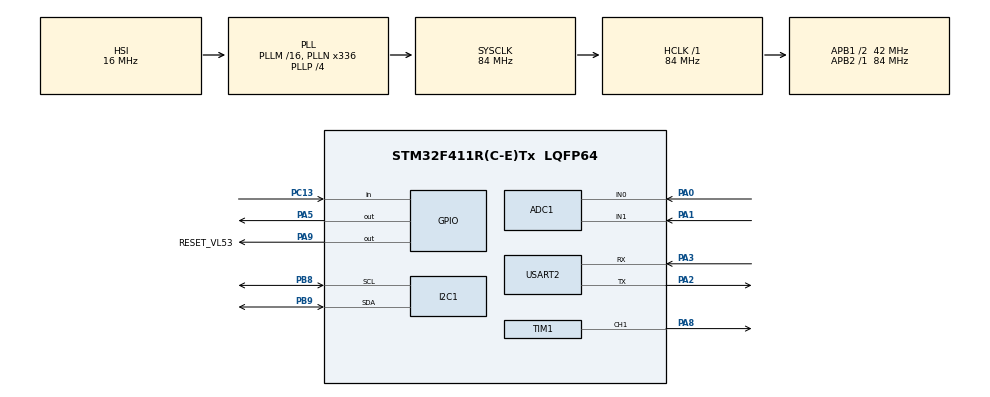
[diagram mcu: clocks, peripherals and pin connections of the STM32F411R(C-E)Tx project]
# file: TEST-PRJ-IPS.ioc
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ADC1.Channel-0\#ChannelRegularConversion=ADC_CHANNEL_0
ADC1.Channel-1\#ChannelRegularConversion=ADC_CHANNEL_1
ADC1.ContinuousConvMode=ENABLE
ADC1.NbrOfConversion=2
ADC1.NbrOfConversionFlag=1
ADC1.Rank-0\#ChannelRegularConversion=1
ADC1.Rank-1\#ChannelRegularConversion=2
ADC1.SamplingTime-0\#ChannelRegularConversion=ADC_SAMPLETIME_3CYCLES
ADC1.SamplingTime-1\#ChannelRegularConversion=ADC_SAMPLETIME_3CYCLES
ADC1.master=1
Dma.ADC1.0.Direction=DMA_PERIPH_TO_MEMORY
Dma.ADC1.0.FIFOMode=DMA_FIFOMODE_DISABLE
Dma.ADC1.0.Instance=DMA2_Stream0
Dma.ADC1.0.MemDataAlignment=DMA_MDATAALIGN_WORD
Dma.ADC1.0.MemInc=DMA_MINC_ENABLE
Dma.ADC1.0.Mode=DMA_CIRCULAR
Dma.ADC1.0.PeriphDataAlignment=DMA_PDATAALIGN_WORD
Dma.ADC1.0.PeriphInc=DMA_PINC_DISABLE
Dma.ADC1.0.Priority=DMA_PRIORITY_LOW
Dma.Request0=ADC1
Mcu.Family=STM32F4
Mcu.Name=STM32F411R(C-E)Tx
Mcu.Package=LQFP64
NVIC.ADC_IRQn=true\:0\:0\:false\:false\:true\:true\:true\:true
NVIC.DMA2_Stream0_IRQn=true\:0\:0\:false\:false\:true\:false\:true\:true
NVIC.PriorityGroup=NVIC_PRIORITYGROUP_0
NVIC.TIM2_IRQn=true\:0\:0\:false\:false\:true\:true\:true\:true
NVIC.USART2_IRQn=true\:0\:0\:false\:false\:true\:true\:true\:true
PA0-WKUP.Signal=ADCx_IN0
PA1.Signal=ADCx_IN1
PA13.GPIO_Label=TMS
PA13.Mode=Serial_Wire
PA13.Signal=SYS_JTMS-SWDIO
PA14.GPIO_Label=TCK
PA14.Mode=Serial_Wire
PA14.Signal=SYS_JTCK-SWCLK
PA2.Mode=Asynchronous
PA2.Signal=USART2_TX
PA3.Mode=Asynchronous
PA3.Signal=USART2_RX
PA5.Signal=GPIO_Output
PA8.Signal=S_TIM1_CH1
PA9.GPIO_Label=RESET_VL53
PA9.Signal=GPIO_Output
PB3.GPIO_Label=SWO
PB3.Signal=SYS_JTDO-SWO
PB8.Mode=I2C
PB8.Signal=I2C1_SCL
PB9.Mode=I2C
PB9.Signal=I2C1_SDA
PC13-ANTI_TAMP.Signal=GPIO_Input
PC14-OSC32_IN.Mode=LSE-External-Oscillator
PC14-OSC32_IN.Signal=RCC_OSC32_IN
PC15-OSC32_OUT.Mode=LSE-External-Oscillator
PC15-OSC32_OUT.Signal=RCC_OSC32_OUT
PH0\ -\ OSC_IN.Mode=HSE-External-Clock-Source
PH0\ -\ OSC_IN.Signal=RCC_OSC_IN
PH1\ -\ OSC_OUT.Mode=HSE-External-Clock-Source
PH1\ -\ OSC_OUT.Signal=RCC_OSC_OUT
ProjectManager.HeapSize=0x200
ProjectManager.StackSize=0x400
ProjectManager.TargetToolchain=STM32CubeIDE
RCC.48MHZClocksFreq_Value=84000000
RCC.AHBFreq_Value=84000000
RCC.APB1CLKDivider=RCC_HCLK_DIV2
RCC.APB1Freq_Value=42000000
RCC.APB1TimFreq_Value=84000000
RCC.APB2Freq_Value=84000000
RCC.APB2TimFreq_Value=84000000
RCC.CortexFreq_Value=84000000
RCC.FLatency-AdvancedSettings=FLASH_LATENCY_2
RCC.HCLKFreq_Value=84000000
RCC.HSE_VALUE=8000000
RCC.HSI_VALUE=16000000
RCC.PLLN=336
RCC.PLLP=RCC_PLLP_DIV4
RCC.SYSCLKFreq_VALUE=84000000
RCC.SYSCLKSource=RCC_SYSCLKSOURCE_PLLCLK
RCC.VCOOutputFreq_Value=336000000
SH.ADCx_IN0.0=ADC1_IN0,IN0
SH.ADCx_IN1.0=ADC1_IN1,IN1
SH.S_TIM1_CH1.0=TIM1_CH1,PWM Generation1 CH1
TIM1.Channel-PWM\ Generation1\ CH1=TIM_CHANNEL_1
TIM1.Period=100
TIM1.Prescaler=42
TIM2.Period=10000-1
TIM2.Prescaler=8400-1
USART2.VirtualMode=VM_ASYNC
VP_TIM1_VS_ClockSourceINT.Mode=Internal
VP_TIM2_VS_ClockSourceINT.Mode=Internal
board=NUCLEO-F411RE

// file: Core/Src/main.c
/* USER CODE BEGIN Header */
/**
  ******************************************************************************
  * @file           : main.c
  * @brief          : Main program body
  ******************************************************************************
  * @attention
  *
  * Copyright (c) 2022 STMicroelectronics.
  * All rights reserved.
  *
  * This software is licensed under terms that can be found in the LICENSE file
  * in the root directory of this software component.
  * If no LICENSE file comes with this software, it is provided AS-IS.
  *
  ******************************************************************************
  */
/* USER CODE END Header */
#include "main.h"

/* USER CODE BEGIN Includes */
#include "uart_trace.c"
#include "vl53l0x_api.h"
/* USER CODE END Includes */

ADC_HandleTypeDef hadc1;
DMA_HandleTypeDef hdma_adc1;

I2C_HandleTypeDef hi2c1;

TIM_HandleTypeDef htim1;
TIM_HandleTypeDef htim2;

UART_HandleTypeDef huart2;

/* USER CODE BEGIN PV */
int status=0;
uint16_t position_courante=0;

/* USER CODE END PV */

void SystemClock_Config(void);
static void MX_GPIO_Init(void);
static void MX_DMA_Init(void);
static void MX_USART2_UART_Init(void);
static void MX_TIM2_Init(void);
static void MX_ADC1_Init(void);
static void MX_TIM1_Init(void);
static void MX_I2C1_Init(void);

/* USER CODE BEGIN 0 */

uint8_t data[] = "Message \r\n";
uint8_t Rx_data[6];  //  creating a buffer of 10 bytes
double Voltage_value;
double Current_value;
double Power_value;

//PID
double order=126;
double commande;
double error;
double last_error;
double sum_error;

double Consigne = 110; //En cm par rapport au sol !!
double Mesure_sortie; //Mesure du capteur conversion en cm !!!
double error; //Ecart : error = Consigne - Mesure_sortie
double Kp=2; //Gain correcteur proportionel
double Ki=0.002; //Gain correcteur intégrale
double Kd = 50;

double up;
double ui;

char str[1024];
uint32_t adc_buffer[2];
int position;
int position_actuel_masse;
float prev_error= 0.0;
int apply_correction = 0;

double get_current(	uint32_t readValue){

	double current;

	current = (float)readValue*(3.3/4095.0);
	current/=(23 * 0.05);
	sprintf(str,"Courant : valeur releve : %ld - valeur courant : %.5f\r\n",readValue,current);
//	HAL_UART_Transmit(&huart2, (uint8_t *)str, strlen(str), 100);

	Current_value = current;
	return current;
}

float Recevoir_tension_SHUNT(ADC_HandleTypeDef* hadc, UART_HandleTypeDef* huart) {
	 // ADC CONVERTER
	 float voltage;

	 HAL_ADC_Start(hadc);
	 /* Attendre la fin de la conversion ADC */
	 HAL_ADC_PollForConversion(hadc, HAL_MAX_DELAY);

	 /* Lisez la valeur brute */
	 uint16_t raw_value = HAL_ADC_GetValue(hadc);

	 /* Convertissez la valeur brute en tension (supposant une résolution de 12 bits et une tension de référence de 3.3 V) */
	 voltage = (raw_value / 4095.0) * 4.6;

	 /* Envoyez la tension via USART2 */
	 char buffer[50];
	 sprintf(buffer, "voltage=%.2f\r\n", voltage);
	 HAL_UART_Transmit(huart, (uint8_t *)buffer, strlen(buffer), HAL_MAX_DELAY);
	 return voltage;
}

double get_voltage(uint32_t readValue){

	double voltage;
	voltage = (float)readValue*(3.3/4095.0);
	sprintf(str,"Tension : valeur releve : %ld - valeur voltage : %.5f\r\n",readValue,voltage);
//	HAL_UART_Transmit(&huart2, (uint8_t *)str, strlen(str), 100);

	Voltage_value = voltage;
	return voltage;
}

void Correcteur(UART_HandleTypeDef* huart){
 // Variable pour stocker l'erreur précédente
 Mesure_sortie = position_actuel_masse;
 error = Consigne - Mesure_sortie;
 up = Kp * error;

 ui = ui + up * Ki;

 // Ajout du terme de dérivée (D)
 float derivative = Kd * (error - prev_error);
 prev_error = error;

 //commande = up + ui + derivative; //ne pas enlver please !!!
 commande = up + ui + derivative;
 commande =commande >25 ? 25 : commande;
 commande =commande <0 ? 0 : commande;
 char buffer[50];
 sprintf(buffer, "Commande=%.2f\r\n", commande);
 HAL_UART_Transmit(huart, (uint8_t *)buffer, strlen(buffer), HAL_MAX_DELAY);

 TIM1->CCR1 = commande; //Valeurs de 0 à 40 Max
}

int get_position(UART_HandleTypeDef* huart){

 uint16_t position;

 /* only one sensor */
 /* Call All-In-One blocking API function */
 status = VL53L0X_PerformSingleRangingMeasurement(&VL53L0XDevs[0],&RangingMeasurementData);
 position=RangingMeasurementData.RangeMilliMeter;
 if( status ==0 ){
 trace_printf("\r\n%d", position_courante);
 // Sensor_SetNewRange(&VL53L0XDevs[0],&RangingMeasurementData);
 }
 sprintf(str,"position_masse_en_mm=%d\r\n",position);
 HAL_UART_Transmit(huart, (uint8_t *)str, strlen(str), 100);

 return position;
}

void send_data(){
	//send data position courant tension et puissance par uart
	sprintf(str,"distance_data=%u;voltage_data=%f;current_data=%f\r\n",position_courante,Voltage_value, Current_value);
	HAL_UART_Transmit(&huart2, (uint8_t *)str, strlen(str), 100);
	HAL_UART_Receive_IT(&huart2, Rx_data, 5);
	return;
}

/* USER CODE END 0 */

int main(void)
{
  /* USER CODE BEGIN 1 */
   RangingConfig_e RangingConfig = LONG_RANGE;
  /* USER CODE END 1 */

  /* MCU Configuration--------------------------------------------------------*/

  /* Reset of all peripherals, Initializes the Flash interface and the Systick. */
  HAL_Init();

  /* Configure the system clock */
  SystemClock_Config();

  /* Initialize all configured peripherals */
  MX_GPIO_Init();
  MX_DMA_Init();
  MX_USART2_UART_Init();
  MX_TIM2_Init();
  MX_ADC1_Init();
  MX_TIM1_Init();
  MX_I2C1_Init();
  /* USER CODE BEGIN 2 */
  //HAL_TIM_Base_Start_IT(&htim2);
  TIM1->CCR1=0;
  // HAL_TIM_PWM_Start(&htim1, TIM_CHANNEL_1);
  HAL_UART_Receive_IT(&huart2, Rx_data, 5);

  XNUCLEO53L0A1_hi2c = hi2c1;
  ResetAndDetectSensor(0); // UNCOMMENT THIS
  /* Reset and Detect all sensors */
  ResetAndDetectSensor(0); // UNCOMMENT THIS
  SetupSingleShot(RangingConfig);

  /* USER CODE END 2 */

  /* Infinite loop */
  /* USER CODE BEGIN WHILE */
  while (1)
  {

	//HAL_ADC_Start_DMA(&hadc1, adc_buffer, 2);
	  // Recevoir_tension_SHUNT(&hadc1,&huart2);
	  if (apply_correction){
		  position_actuel_masse = get_position(&huart2);
		  Correcteur(&huart2);
		  Recevoir_tension_SHUNT(&hadc1,&huart2);
	  }
  }
  /* USER CODE END 3 */
}

void SystemClock_Config(void)
{
  RCC_OscInitTypeDef RCC_OscInitStruct = {0};
  RCC_ClkInitTypeDef RCC_ClkInitStruct = {0};

  /** Configure the main internal regulator output voltage
  */
  __HAL_RCC_PWR_CLK_ENABLE();
  __HAL_PWR_VOLTAGESCALING_CONFIG(PWR_REGULATOR_VOLTAGE_SCALE1);

  /** Initializes the RCC Oscillators according to the specified parameters
  * in the RCC_OscInitTypeDef structure.
  */
  RCC_OscInitStruct.OscillatorType = RCC_OSCILLATORTYPE_HSI;
  RCC_OscInitStruct.HSIState = RCC_HSI_ON;
  RCC_OscInitStruct.HSICalibrationValue = RCC_HSICALIBRATION_DEFAULT;
  RCC_OscInitStruct.PLL.PLLState = RCC_PLL_ON;
  RCC_OscInitStruct.PLL.PLLSource = RCC_PLLSOURCE_HSI;
  RCC_OscInitStruct.PLL.PLLM = 16;
  RCC_OscInitStruct.PLL.PLLN = 336;
  RCC_OscInitStruct.PLL.PLLP = RCC_PLLP_DIV4;
  RCC_OscInitStruct.PLL.PLLQ = 4;
  if (HAL_RCC_OscConfig(&RCC_OscInitStruct) != HAL_OK)
  {
    Error_Handler();
  }

  /** Initializes the CPU, AHB and APB buses clocks
  */
  RCC_ClkInitStruct.ClockType = RCC_CLOCKTYPE_HCLK|RCC_CLOCKTYPE_SYSCLK
                              |RCC_CLOCKTYPE_PCLK1|RCC_CLOCKTYPE_PCLK2;
  RCC_ClkInitStruct.SYSCLKSource = RCC_SYSCLKSOURCE_PLLCLK;
  RCC_ClkInitStruct.AHBCLKDivider = RCC_SYSCLK_DIV1;
  RCC_ClkInitStruct.APB1CLKDivider = RCC_HCLK_DIV2;
  RCC_ClkInitStruct.APB2CLKDivider = RCC_HCLK_DIV1;

  if (HAL_RCC_ClockConfig(&RCC_ClkInitStruct, FLASH_LATENCY_2) != HAL_OK)
  {
    Error_Handler();
  }
}

static void MX_ADC1_Init(void)
{

  ADC_ChannelConfTypeDef sConfig = {0};

  /** Configure the global features of the ADC (Clock, Resolution, Data Alignment and number of conversion)
  */
  hadc1.Instance = ADC1;
  hadc1.Init.ClockPrescaler = ADC_CLOCK_SYNC_PCLK_DIV4;
  hadc1.Init.Resolution = ADC_RESOLUTION_12B;
  hadc1.Init.ScanConvMode = ENABLE;
  hadc1.Init.ContinuousConvMode = ENABLE;
  hadc1.Init.DiscontinuousConvMode = DISABLE;
  hadc1.Init.ExternalTrigConvEdge = ADC_EXTERNALTRIGCONVEDGE_NONE;
  hadc1.Init.ExternalTrigConv = ADC_SOFTWARE_START;
  hadc1.Init.DataAlign = ADC_DATAALIGN_RIGHT;
  hadc1.Init.NbrOfConversion = 2;
  hadc1.Init.DMAContinuousRequests = DISABLE;
  hadc1.Init.EOCSelection = ADC_EOC_SINGLE_CONV;
  if (HAL_ADC_Init(&hadc1) != HAL_OK)
  {
    Error_Handler();
  }

  /** Configure for the selected ADC regular channel its corresponding rank in the sequencer and its sample time.
  */
  sConfig.Channel = ADC_CHANNEL_0;
  sConfig.Rank = 1;
  sConfig.SamplingTime = ADC_SAMPLETIME_3CYCLES;
  if (HAL_ADC_ConfigChannel(&hadc1, &sConfig) != HAL_OK)
  {
    Error_Handler();
  }

  /** Configure for the selected ADC regular channel its corresponding rank in the sequencer and its sample time.
  */
  sConfig.Channel = ADC_CHANNEL_1;
  sConfig.Rank = 2;
  if (HAL_ADC_ConfigChannel(&hadc1, &sConfig) != HAL_OK)
  {
    Error_Handler();
  }

}

static void MX_I2C1_Init(void)
{

  hi2c1.Instance = I2C1;
  hi2c1.Init.ClockSpeed = 100000;
  hi2c1.Init.DutyCycle = I2C_DUTYCYCLE_2;
  hi2c1.Init.OwnAddress1 = 0;
  hi2c1.Init.AddressingMode = I2C_ADDRESSINGMODE_7BIT;
  hi2c1.Init.DualAddressMode = I2C_DUALADDRESS_DISABLE;
  hi2c1.Init.OwnAddress2 = 0;
  hi2c1.Init.GeneralCallMode = I2C_GENERALCALL_DISABLE;
  hi2c1.Init.NoStretchMode = I2C_NOSTRETCH_DISABLE;
  if (HAL_I2C_Init(&hi2c1) != HAL_OK)
  {
    Error_Handler();
  }

}

static void MX_TIM1_Init(void)
{

  TIM_ClockConfigTypeDef sClockSourceConfig = {0};
  TIM_MasterConfigTypeDef sMasterConfig = {0};
  TIM_OC_InitTypeDef sConfigOC = {0};
  TIM_BreakDeadTimeConfigTypeDef sBreakDeadTimeConfig = {0};

  htim1.Instance = TIM1;
  htim1.Init.Prescaler = 830;
  htim1.Init.CounterMode = TIM_COUNTERMODE_UP;
  htim1.Init.Period = 100;
  htim1.Init.ClockDivision = TIM_CLOCKDIVISION_DIV1;
  htim1.Init.RepetitionCounter = 0;
  htim1.Init.AutoReloadPreload = TIM_AUTORELOAD_PRELOAD_DISABLE;
  if (HAL_TIM_Base_Init(&htim1) != HAL_OK)
  {
    Error_Handler();
  }
  sClockSourceConfig.ClockSource = TIM_CLOCKSOURCE_INTERNAL;
  if (HAL_TIM_ConfigClockSource(&htim1, &sClockSourceConfig) != HAL_OK)
  {
    Error_Handler();
  }
  if (HAL_TIM_PWM_Init(&htim1) != HAL_OK)
  {
    Error_Handler();
  }
  sMasterConfig.MasterOutputTrigger = TIM_TRGO_RESET;
  sMasterConfig.MasterSlaveMode = TIM_MASTERSLAVEMODE_DISABLE;
  if (HAL_TIMEx_MasterConfigSynchronization(&htim1, &sMasterConfig) != HAL_OK)
  {
    Error_Handler();
  }
  sConfigOC.OCMode = TIM_OCMODE_PWM1;
  sConfigOC.Pulse = 0;
  sConfigOC.OCPolarity = TIM_OCPOLARITY_HIGH;
  sConfigOC.OCNPolarity = TIM_OCNPOLARITY_HIGH;
  sConfigOC.OCFastMode = TIM_OCFAST_DISABLE;
  sConfigOC.OCIdleState = TIM_OCIDLESTATE_RESET;
  sConfigOC.OCNIdleState = TIM_OCNIDLESTATE_RESET;
  if (HAL_TIM_PWM_ConfigChannel(&htim1, &sConfigOC, TIM_CHANNEL_1) != HAL_OK)
  {
    Error_Handler();
  }
  sBreakDeadTimeConfig.OffStateRunMode = TIM_OSSR_DISABLE;
  sBreakDeadTimeConfig.OffStateIDLEMode = TIM_OSSI_DISABLE;
  sBreakDeadTimeConfig.LockLevel = TIM_LOCKLEVEL_OFF;
  sBreakDeadTimeConfig.DeadTime = 0;
  sBreakDeadTimeConfig.BreakState = TIM_BREAK_DISABLE;
  sBreakDeadTimeConfig.BreakPolarity = TIM_BREAKPOLARITY_HIGH;
  sBreakDeadTimeConfig.AutomaticOutput = TIM_AUTOMATICOUTPUT_DISABLE;
  if (HAL_TIMEx_ConfigBreakDeadTime(&htim1, &sBreakDeadTimeConfig) != HAL_OK)
  {
    Error_Handler();
  }
  HAL_TIM_MspPostInit(&htim1);

}

static void MX_TIM2_Init(void)
{

  TIM_ClockConfigTypeDef sClockSourceConfig = {0};
  TIM_MasterConfigTypeDef sMasterConfig = {0};

  htim2.Instance = TIM2;
  htim2.Init.Prescaler = 2100-1;
  htim2.Init.CounterMode = TIM_COUNTERMODE_UP;
  htim2.Init.Period = 10001-1;
  htim2.Init.ClockDivision = TIM_CLOCKDIVISION_DIV1;
  htim2.Init.AutoReloadPreload = TIM_AUTORELOAD_PRELOAD_DISABLE;
  if (HAL_TIM_Base_Init(&htim2) != HAL_OK)
  {
    Error_Handler();
  }
  sClockSourceConfig.ClockSource = TIM_CLOCKSOURCE_INTERNAL;
  if (HAL_TIM_ConfigClockSource(&htim2, &sClockSourceConfig) != HAL_OK)
  {
    Error_Handler();
  }
  sMasterConfig.MasterOutputTrigger = TIM_TRGO_RESET;
  sMasterConfig.MasterSlaveMode = TIM_MASTERSLAVEMODE_DISABLE;
  if (HAL_TIMEx_MasterConfigSynchronization(&htim2, &sMasterConfig) != HAL_OK)
  {
    Error_Handler();
  }

}

static void MX_USART2_UART_Init(void)
{

  huart2.Instance = USART2;
  huart2.Init.BaudRate = 115200;
  huart2.Init.WordLength = UART_WORDLENGTH_8B;
  huart2.Init.StopBits = UART_STOPBITS_1;
  huart2.Init.Parity = UART_PARITY_NONE;
  huart2.Init.Mode = UART_MODE_TX_RX;
  huart2.Init.HwFlowCtl = UART_HWCONTROL_NONE;
  huart2.Init.OverSampling = UART_OVERSAMPLING_16;
  if (HAL_UART_Init(&huart2) != HAL_OK)
  {
    Error_Handler();
  }

}

static void MX_DMA_Init(void)
{

  /* DMA controller clock enable */
  __HAL_RCC_DMA2_CLK_ENABLE();

  /* DMA interrupt init */
  /* DMA2_Stream0_IRQn interrupt configuration */
  HAL_NVIC_SetPriority(DMA2_Stream0_IRQn, 0, 0);
  HAL_NVIC_EnableIRQ(DMA2_Stream0_IRQn);

}

static void MX_GPIO_Init(void)
{
  GPIO_InitTypeDef GPIO_InitStruct = {0};

  /* GPIO Ports Clock Enable */
  __HAL_RCC_GPIOC_CLK_ENABLE();
  __HAL_RCC_GPIOH_CLK_ENABLE();
  __HAL_RCC_GPIOA_CLK_ENABLE();
  __HAL_RCC_GPIOB_CLK_ENABLE();

  /*Configure GPIO pin Output Level */
  HAL_GPIO_WritePin(GPIOA, GPIO_PIN_5|RESET_VL53_Pin, GPIO_PIN_RESET);

  /*Configure GPIO pin : PC13 */
  GPIO_InitStruct.Pin = GPIO_PIN_13;
  GPIO_InitStruct.Mode = GPIO_MODE_INPUT;
  GPIO_InitStruct.Pull = GPIO_NOPULL;
  HAL_GPIO_Init(GPIOC, &GPIO_InitStruct);

  /*Configure GPIO pins : PA5 RESET_VL53_Pin */
  GPIO_InitStruct.Pin = GPIO_PIN_5|RESET_VL53_Pin;
  GPIO_InitStruct.Mode = GPIO_MODE_OUTPUT_PP;
  GPIO_InitStruct.Pull = GPIO_NOPULL;
  GPIO_InitStruct.Speed = GPIO_SPEED_FREQ_LOW;
  HAL_GPIO_Init(GPIOA, &GPIO_InitStruct);

}

/* USER CODE BEGIN 4 */

void HAL_TIM_PeriodElapsedCallback(TIM_HandleTypeDef *htim)
{
  // Check which version of the timer triggered this callback and toggle LED
  if (htim == &htim2 )
  {
    //HAL_GPIO_TogglePin(GPIOA, GPIO_PIN_5);
     // Recevoir_tension_SHUNT(&hadc1,&huart2);
  }
}

void HAL_ADC_ConvCpltCallback(ADC_HandleTypeDef* hadc)
{
    // Conversion Complete & DMA Transfer Complete As Well
    // So The AD_RES Is Now Updated & Let's Move IT To The PWM CCR1
    // Update The PWM Duty Cycle With Latest ADC Conversion Result
	if(hadc == &hadc1){
		get_current(adc_buffer[0]);
		get_voltage(adc_buffer[1]);
	}

}

double get_value_from_digits()
{
	int numDigits = Rx_data[1];
	// Assuming Rx_data[2], Rx_data[3], Rx_data[4], ..., Rx_data[numDigits + 1] contain the digits
	int receivedValue = 0;
	for (int i = 0; i < numDigits; ++i) {
		receivedValue = receivedValue * 10 + Rx_data[2 + i];
	}
	return receivedValue;
}

void HAL_UART_RxCpltCallback(UART_HandleTypeDef *huart)
{
	if(huart == &huart2){
		 // Re-arm the UART receive interrupt for the next data reception
		 HAL_UART_Receive_IT(&huart2, Rx_data, 5);
		 // HAL_UART_Receive_IT(&huart2, Rx_data, 5);
		 // HAL_UART_Transmit(&huart2, Rx_data, strlen(Rx_data), 100);
		 for(int i=0; i<5; i++){ //Passage des valeurs en entier en enlevant l'offset ascii
			 Rx_data[i]-=48;
		 }
		 if(Rx_data[0]==0x1){ //Recevoir Kp sur 4 chiffres entiers ( jusqu'à 9999 )
			 Kp= get_value_from_digits();
		 } else if(Rx_data[0]==0x2){ //Recevoir Ki sur 4 chiffres entiers ( jusqu'à 9999 )
			 Ki=get_value_from_digits();
		 } else if(Rx_data[0]==0x3){ //Recevoir Kd sur 4 chiffres entiers ( jusqu'à 9999 )
			 Kd=get_value_from_digits();
		 } else if(Rx_data[0]==0x4){ //Recevoir distance sur 3 chiffres entiers ( jusqu'à 999 mm mais bloqué par IHM à 200 mm)
			 Consigne=get_value_from_digits();
		 } else if (Rx_data[0]==0x5){
			 HAL_TIM_PWM_Start(&htim1, TIM_CHANNEL_1);
		 } else if (Rx_data[0]==0x6){
			 HAL_TIM_PWM_Stop(&htim1, TIM_CHANNEL_1);
		 } else if(Rx_data[0]==0x7){ //afficher la tension
//			 HAL_TIM_Base_Start_IT(&htim2);
			 Recevoir_tension_SHUNT(&hadc1,&huart2);
		 } else if(Rx_data[0]==0x8){ //Ne plus afficher la tension
//			 HAL_TIM_Base_Stop_IT(&htim2);
//			 HAL_TIM_Base_Stop(&htim2);
//			 HAL_TIM_Base_Stop_DMA(&htim2);
		 }else if(Rx_data[0]==0x9){ // Show corrction values or not
			 apply_correction = ! apply_correction;
		 }else{
			 return;
		 }

	}

}
/*
void HAL_UART_TxCpltCallback(UART_HandleTypeDef *huart)
{
   HAL_UART_Transmit_IT(&huart2, fin, sizeof(fin));
}
*/

/* USER CODE END 4 */

void Error_Handler(void)
{
  __disable_irq();
  while (1)
  {
  }
}
